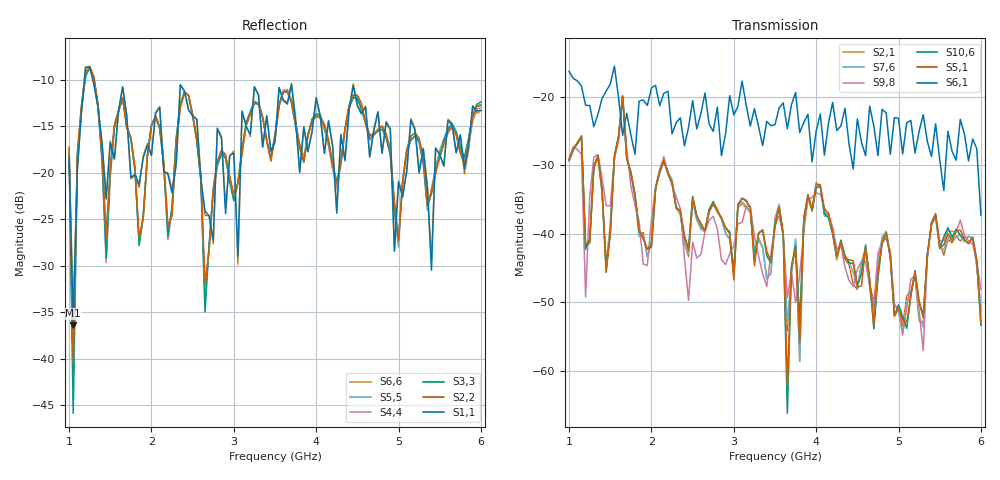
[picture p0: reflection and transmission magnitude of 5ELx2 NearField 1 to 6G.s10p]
! Touchstone file exported from HFSS 2019.3.0
!  File:  D:/5ELx2 NearField.aedt
!  Generated:  9:03:55 AM  Dec 09, 2019
!  Design:  HFSSDesign1
!  Project:  5ELx2 NearField
!  Setup:  1_to_6G
!  Solution:  Disc
# GHZ S RI R 50.000000
! Modal data exported
! Port[1] = 1:1
! Port[2] = 2:1
! Port[3] = 3:1
! Port[4] = 4:1
! Port[5] = 5:1
! Port[6] = 6:1
! Port[7] = 7:1
! Port[8] = 8:1
! Port[9] = 9:1
! Port[10] = 10:1
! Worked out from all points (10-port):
!   101 points, 1 GHz to 6 GHz, reference 50 ohm
!   strongest paths, dB at 1 GHz, 2.25 GHz, 3.5 GHz, 4.75 GHz, 6 GHz:
!     S6,1: -16.3, -25.5, -24.1, -28.6, -37.3
!     S5,1: -29.2, -32.5, -39.0, -45.7, -53.0
!     S10,6: -29.3, -32.6, -38.7, -46.5, -53.4
!     S9,8: -29.0, -33.0, -38.9, -42.9, -48.1
!     S7,6: -29.3, -32.1, -38.1, -44.2, -50.8
!     S2,1: -29.4, -32.5, -37.8, -44.3, -51.4
!   lowest |S11| = -36.4 dB at 1.05 GHz (marker M1), VSWR 1.03, Z = 51.1 + j1.07 ohm
!   |S11| at or under -10 dB: start of sweep to 1.186 GHz; 1.288 GHz to end of sweep
